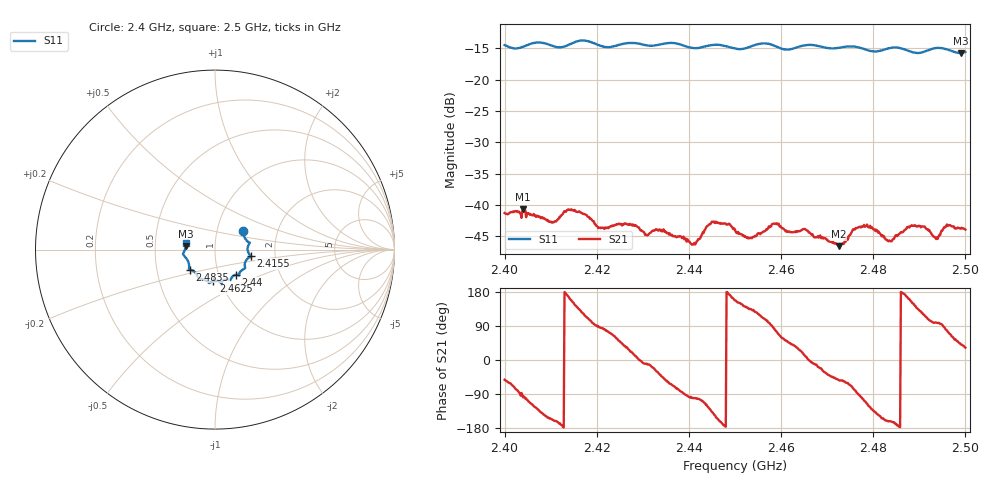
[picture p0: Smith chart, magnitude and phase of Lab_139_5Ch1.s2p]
# Hz S RI R 50
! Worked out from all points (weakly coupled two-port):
!   601 points, 2.4 GHz to 2.5 GHz, reference 50 ohm
!   highest |S21| = -40.65 dB at 2.404 GHz (marker M1); lowest = -46.6 dB at 2.4725 GHz (marker M2)
!   lowest |S11| = -15.7 dB at 2.499 GHz (marker M3), VSWR 1.39, Z = 36 + j1.49 ohm
!   |S11| at or under -10 dB: start of sweep to end of sweep
!   S12 and S22 are empty: the file has one direction only
!   S11 on the Smith chart (normalised r, x): 2.4 GHz: 1.33, +0.29; 2.4155 GHz: 1.49, -0.11; 2.44 GHz: 1.21, -0.35; 2.4625 GHz: 0.92, -0.34; 2.4835 GHz: 0.74, -0.17; 2.5 GHz: 0.72, +0.05
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2.4e9  0.1566 0.1059  0.00529 -0.0068  0 0  0 0
2.404e9  0.1762 0.0501  -0.00139 -0.00917  0 0  0 0
2.410167e9  0.1861 0.0238  -0.00672 -0.00292  0 0  0 0
2.4155e9  0.1983 -0.0358  -0.00701 0.00536  0 0  0 0
2.416667e9  0.2019 -0.0403  -0.00518 0.00693  0 0  0 0
2.420667e9  0.1801 -0.0512  0.000489 0.00657  0 0  0 0
2.433333e9  0.1354 -0.1335  0.00519 -0.00344  0 0  0 0
2.44e9  0.1157 -0.14  -0.000667 -0.00507  0 0  0 0
2.445333e9  0.0854 -0.1696  -0.0057 -0.00452  0 0  0 0
2.45e9  0.064 -0.1655  -0.00586 0.00242  0 0  0 0
2.453333e9  0.0393 -0.1797  -0.00384 0.00388  0 0  0 0
2.458833e9  0.0308 -0.1823  0.00159 0.00691  0 0  0 0
2.4625e9  -0.00952 -0.1768  0.0046 0.00392  0 0  0 0
2.466667e9  -0.0331 -0.1869  0.00573 -0.000577  0 0  0 0
2.4725e9  -0.0729 -0.1643  0.00283 -0.00373  0 0  0 0
2.478167e9  -0.1004 -0.1435  -0.00217 -0.00632  0 0  0 0
2.483333e9  -0.1386 -0.1121  -0.00488 -0.00159  0 0  0 0
2.4835e9  -0.1395 -0.1117  -0.00493 -0.00167  0 0  0 0
2.4885e9  -0.145 -0.0811  -0.00591 0.00342  0 0  0 0
2.4935e9  -0.1767 -0.0279  -0.000867 0.00537  0 0  0 0
2.499e9  -0.1622 0.0201  0.00487 0.00425  0 0  0 0
2.5e9  -0.1627 0.0362  0.00537 0.0034  0 0  0 0
